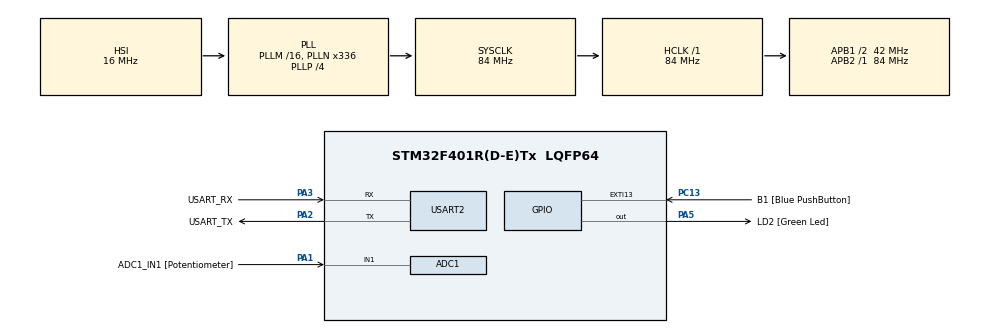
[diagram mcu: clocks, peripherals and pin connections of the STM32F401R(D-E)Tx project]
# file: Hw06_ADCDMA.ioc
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ADC1.Channel-0\#ChannelRegularConversion=ADC_CHANNEL_1
ADC1.Channel-3\#ChannelRegularConversion=ADC_CHANNEL_TEMPSENSOR
ADC1.Channel-4\#ChannelRegularConversion=ADC_CHANNEL_VREFINT
ADC1.DMAContinuousRequests=ENABLE
ADC1.ExternalTrigConv=ADC_EXTERNALTRIGCONV_T2_TRGO
ADC1.NbrOfConversion=3
ADC1.NbrOfConversionFlag=1
ADC1.Rank-3\#ChannelRegularConversion=2
ADC1.Rank-4\#ChannelRegularConversion=3
ADC1.SamplingTime-0\#ChannelRegularConversion=ADC_SAMPLETIME_480CYCLES
ADC1.SamplingTime-3\#ChannelRegularConversion=ADC_SAMPLETIME_480CYCLES
ADC1.SamplingTime-4\#ChannelRegularConversion=ADC_SAMPLETIME_480CYCLES
ADC1.ScanConvMode=ENABLE
ADC1.master=1
Dma.ADC1.1.Direction=DMA_PERIPH_TO_MEMORY
Dma.ADC1.1.FIFOMode=DMA_FIFOMODE_DISABLE
Dma.ADC1.1.Instance=DMA2_Stream0
Dma.ADC1.1.MemDataAlignment=DMA_MDATAALIGN_HALFWORD
Dma.ADC1.1.MemInc=DMA_MINC_ENABLE
Dma.ADC1.1.Mode=DMA_CIRCULAR
Dma.ADC1.1.PeriphDataAlignment=DMA_PDATAALIGN_HALFWORD
Dma.ADC1.1.PeriphInc=DMA_PINC_DISABLE
Dma.ADC1.1.Priority=DMA_PRIORITY_LOW
Dma.Request0=USART2_TX
Dma.Request1=ADC1
Dma.USART2_TX.0.Direction=DMA_MEMORY_TO_PERIPH
Dma.USART2_TX.0.FIFOMode=DMA_FIFOMODE_DISABLE
Dma.USART2_TX.0.Instance=DMA1_Stream6
Dma.USART2_TX.0.MemDataAlignment=DMA_MDATAALIGN_BYTE
Dma.USART2_TX.0.MemInc=DMA_MINC_ENABLE
Dma.USART2_TX.0.Mode=DMA_NORMAL
Dma.USART2_TX.0.PeriphDataAlignment=DMA_PDATAALIGN_BYTE
Dma.USART2_TX.0.PeriphInc=DMA_PINC_DISABLE
Dma.USART2_TX.0.Priority=DMA_PRIORITY_LOW
Mcu.Family=STM32F4
Mcu.Name=STM32F401R(D-E)Tx
Mcu.Package=LQFP64
NVIC.DMA1_Stream6_IRQn=true\:0\:0\:true\:false\:true\:false\:true\:true
NVIC.DMA2_Stream0_IRQn=true\:0\:0\:true\:false\:true\:false\:true\:true
NVIC.PriorityGroup=NVIC_PRIORITYGROUP_4
NVIC.USART2_IRQn=true\:0\:0\:false\:false\:true\:true\:true\:true
PA1.GPIO_Label=ADC1_IN1 [Potentiometer]
PA1.GPIO_Mode=GPIO_MODE_ANALOG
PA1.GPIO_PuPd=GPIO_NOPULL
PA1.Signal=ADCx_IN1
PA13.GPIO_Label=TMS
PA13.Mode=Trace_Asynchronous_SW
PA13.Signal=SYS_JTMS-SWDIO
PA14.GPIO_Label=TCK
PA14.Mode=Trace_Asynchronous_SW
PA14.Signal=SYS_JTCK-SWCLK
PA2.GPIO_Label=USART_TX
PA2.GPIO_Mode=GPIO_MODE_AF_PP
PA2.GPIO_PuPd=GPIO_NOPULL
PA2.GPIO_Speed=GPIO_SPEED_FREQ_LOW
PA2.Mode=Asynchronous
PA2.Signal=USART2_TX
PA3.GPIO_Label=USART_RX
PA3.GPIO_Mode=GPIO_MODE_AF_PP
PA3.GPIO_PuPd=GPIO_NOPULL
PA3.GPIO_Speed=GPIO_SPEED_FREQ_LOW
PA3.Mode=Asynchronous
PA3.Signal=USART2_RX
PA5.GPIO_Label=LD2 [Green Led]
PA5.GPIO_Mode=GPIO_MODE_OUTPUT_PP
PA5.GPIO_PuPd=GPIO_NOPULL
PA5.GPIO_Speed=GPIO_SPEED_FREQ_LOW
PA5.Signal=GPIO_Output
PB3.GPIO_Label=SWO
PB3.Mode=Trace_Asynchronous_SW
PB3.Signal=SYS_JTDO-SWO
PC13-ANTI_TAMP.GPIO_Label=B1 [Blue PushButton]
PC13-ANTI_TAMP.GPIO_ModeDefaultEXTI=GPIO_MODE_IT_FALLING
PC13-ANTI_TAMP.GPIO_PuPd=GPIO_NOPULL
PC13-ANTI_TAMP.Signal=GPXTI13
PC14-OSC32_IN.Mode=LSE-External-Oscillator
PC14-OSC32_IN.Signal=RCC_OSC32_IN
PC15-OSC32_OUT.Mode=LSE-External-Oscillator
PC15-OSC32_OUT.Signal=RCC_OSC32_OUT
PH0\ -\ OSC_IN.Mode=HSE-External-Clock-Source
PH0\ -\ OSC_IN.Signal=RCC_OSC_IN
PH1\ -\ OSC_OUT.Mode=HSE-External-Clock-Source
PH1\ -\ OSC_OUT.Signal=RCC_OSC_OUT
ProjectManager.HeapSize=0x200
ProjectManager.StackSize=0x400
ProjectManager.TargetToolchain=STM32CubeIDE
RCC.48MHZClocksFreq_Value=48000000
RCC.AHBFreq_Value=84000000
RCC.APB1CLKDivider=RCC_HCLK_DIV2
RCC.APB1Freq_Value=42000000
RCC.APB1TimFreq_Value=84000000
RCC.APB2Freq_Value=84000000
RCC.APB2TimFreq_Value=84000000
RCC.CortexFreq_Value=84000000
RCC.HCLKFreq_Value=84000000
RCC.HSE_VALUE=8000000
RCC.HSI_VALUE=16000000
RCC.PLLN=336
RCC.PLLP=RCC_PLLP_DIV4
RCC.PLLQ=7
RCC.SYSCLKFreq_VALUE=84000000
RCC.SYSCLKSource=RCC_SYSCLKSOURCE_PLLCLK
RCC.VCOOutputFreq_Value=336000000
SH.ADCx_IN1.0=ADC1_IN1,IN1
TIM2.Period=9999
TIM2.Prescaler=8399
TIM2.TIM_MasterOutputTrigger=TIM_TRGO_UPDATE
USART2.VirtualMode=VM_ASYNC
VP_ADC1_TempSens_Input.Mode=IN-TempSens
VP_ADC1_Vref_Input.Mode=IN-Vrefint
VP_TIM2_VS_ClockSourceINT.Mode=Internal
board=NUCLEO-F401RE

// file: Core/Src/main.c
/* USER CODE BEGIN Header */
/**
  ******************************************************************************
  * @file           : main.c
  * @brief          : Main program body
  ******************************************************************************
  * @attention
  *
  * Copyright (c) 2025 STMicroelectronics.
  * All rights reserved.
  *
  * This software is licensed under terms that can be found in the LICENSE file
  * in the root directory of this software component.
  * If no LICENSE file comes with this software, it is provided AS-IS.
  *
  ******************************************************************************
  */
/* USER CODE END Header */
#include "main.h"

/* USER CODE BEGIN Includes */
#include "stdio.h"
/* USER CODE END Includes */

ADC_HandleTypeDef hadc1;
DMA_HandleTypeDef hdma_adc1;

TIM_HandleTypeDef htim2;

UART_HandleTypeDef huart2;
DMA_HandleTypeDef hdma_usart2_tx;

/* USER CODE BEGIN PV */
uint16_t adc_dma_buffer[3];
char string[80];
/* USER CODE END PV */

void SystemClock_Config(void);
static void MX_GPIO_Init(void);
static void MX_DMA_Init(void);
static void MX_USART2_UART_Init(void);
static void MX_ADC1_Init(void);
static void MX_TIM2_Init(void);

/* USER CODE BEGIN 0 */
void HAL_ADC_ConvCpltCallback(ADC_HandleTypeDef* hadc) {
	float potentiometer = adc_dma_buffer[0]*3.3/4095;
	float vsense = adc_dma_buffer[1]*3.3/4095;
	float temperature = (vsense - 0.76) / 0.0025 + 25;
	float vref = adc_dma_buffer[2]*3.3/4095;

	int length = snprintf(
			string, sizeof(string),
			"Potentiometer: %.3f V | Temperature: %.2f °C | Vref: %.3f V\n\n",
			potentiometer, temperature, vref);
	HAL_UART_Transmit_DMA(&huart2, (uint8_t *)string, length);
}
/* USER CODE END 0 */

int main(void)
{

  /* MCU Configuration--------------------------------------------------------*/

  /* Reset of all peripherals, Initializes the Flash interface and the Systick. */
  HAL_Init();

  /* Configure the system clock */
  SystemClock_Config();

  /* Initialize all configured peripherals */
  MX_GPIO_Init();
  MX_DMA_Init();
  MX_USART2_UART_Init();
  MX_ADC1_Init();
  MX_TIM2_Init();
  /* USER CODE BEGIN 2 */
  HAL_ADC_Start_DMA(&hadc1, adc_dma_buffer, 3);
  HAL_TIM_Base_Start(&htim2);
  /* USER CODE END 2 */

  /* Infinite loop */
  while (1)
  {

  }
}

void SystemClock_Config(void)
{
  RCC_OscInitTypeDef RCC_OscInitStruct = {0};
  RCC_ClkInitTypeDef RCC_ClkInitStruct = {0};

  /** Configure the main internal regulator output voltage
  */
  __HAL_RCC_PWR_CLK_ENABLE();
  __HAL_PWR_VOLTAGESCALING_CONFIG(PWR_REGULATOR_VOLTAGE_SCALE2);

  /** Initializes the RCC Oscillators according to the specified parameters
  * in the RCC_OscInitTypeDef structure.
  */
  RCC_OscInitStruct.OscillatorType = RCC_OSCILLATORTYPE_HSI;
  RCC_OscInitStruct.HSIState = RCC_HSI_ON;
  RCC_OscInitStruct.HSICalibrationValue = RCC_HSICALIBRATION_DEFAULT;
  RCC_OscInitStruct.PLL.PLLState = RCC_PLL_ON;
  RCC_OscInitStruct.PLL.PLLSource = RCC_PLLSOURCE_HSI;
  RCC_OscInitStruct.PLL.PLLM = 16;
  RCC_OscInitStruct.PLL.PLLN = 336;
  RCC_OscInitStruct.PLL.PLLP = RCC_PLLP_DIV4;
  RCC_OscInitStruct.PLL.PLLQ = 7;
  if (HAL_RCC_OscConfig(&RCC_OscInitStruct) != HAL_OK)
  {
    Error_Handler();
  }

  /** Initializes the CPU, AHB and APB buses clocks
  */
  RCC_ClkInitStruct.ClockType = RCC_CLOCKTYPE_HCLK|RCC_CLOCKTYPE_SYSCLK
                              |RCC_CLOCKTYPE_PCLK1|RCC_CLOCKTYPE_PCLK2;
  RCC_ClkInitStruct.SYSCLKSource = RCC_SYSCLKSOURCE_PLLCLK;
  RCC_ClkInitStruct.AHBCLKDivider = RCC_SYSCLK_DIV1;
  RCC_ClkInitStruct.APB1CLKDivider = RCC_HCLK_DIV2;
  RCC_ClkInitStruct.APB2CLKDivider = RCC_HCLK_DIV1;

  if (HAL_RCC_ClockConfig(&RCC_ClkInitStruct, FLASH_LATENCY_2) != HAL_OK)
  {
    Error_Handler();
  }
}

static void MX_ADC1_Init(void)
{

  ADC_ChannelConfTypeDef sConfig = {0};

  /** Configure the global features of the ADC (Clock, Resolution, Data Alignment and number of conversion)
  */
  hadc1.Instance = ADC1;
  hadc1.Init.ClockPrescaler = ADC_CLOCK_SYNC_PCLK_DIV4;
  hadc1.Init.Resolution = ADC_RESOLUTION_12B;
  hadc1.Init.ScanConvMode = ENABLE;
  hadc1.Init.ContinuousConvMode = DISABLE;
  hadc1.Init.DiscontinuousConvMode = DISABLE;
  hadc1.Init.ExternalTrigConvEdge = ADC_EXTERNALTRIGCONVEDGE_RISING;
  hadc1.Init.ExternalTrigConv = ADC_EXTERNALTRIGCONV_T2_TRGO;
  hadc1.Init.DataAlign = ADC_DATAALIGN_RIGHT;
  hadc1.Init.NbrOfConversion = 3;
  hadc1.Init.DMAContinuousRequests = ENABLE;
  hadc1.Init.EOCSelection = ADC_EOC_SINGLE_CONV;
  if (HAL_ADC_Init(&hadc1) != HAL_OK)
  {
    Error_Handler();
  }

  /** Configure for the selected ADC regular channel its corresponding rank in the sequencer and its sample time.
  */
  sConfig.Channel = ADC_CHANNEL_1;
  sConfig.Rank = 1;
  sConfig.SamplingTime = ADC_SAMPLETIME_480CYCLES;
  if (HAL_ADC_ConfigChannel(&hadc1, &sConfig) != HAL_OK)
  {
    Error_Handler();
  }

  /** Configure for the selected ADC regular channel its corresponding rank in the sequencer and its sample time.
  */
  sConfig.Channel = ADC_CHANNEL_TEMPSENSOR;
  sConfig.Rank = 2;
  if (HAL_ADC_ConfigChannel(&hadc1, &sConfig) != HAL_OK)
  {
    Error_Handler();
  }

  /** Configure for the selected ADC regular channel its corresponding rank in the sequencer and its sample time.
  */
  sConfig.Channel = ADC_CHANNEL_VREFINT;
  sConfig.Rank = 3;
  if (HAL_ADC_ConfigChannel(&hadc1, &sConfig) != HAL_OK)
  {
    Error_Handler();
  }

}

static void MX_TIM2_Init(void)
{

  TIM_ClockConfigTypeDef sClockSourceConfig = {0};
  TIM_MasterConfigTypeDef sMasterConfig = {0};

  htim2.Instance = TIM2;
  htim2.Init.Prescaler = 8399;
  htim2.Init.CounterMode = TIM_COUNTERMODE_UP;
  htim2.Init.Period = 9999;
  htim2.Init.ClockDivision = TIM_CLOCKDIVISION_DIV1;
  htim2.Init.AutoReloadPreload = TIM_AUTORELOAD_PRELOAD_DISABLE;
  if (HAL_TIM_Base_Init(&htim2) != HAL_OK)
  {
    Error_Handler();
  }
  sClockSourceConfig.ClockSource = TIM_CLOCKSOURCE_INTERNAL;
  if (HAL_TIM_ConfigClockSource(&htim2, &sClockSourceConfig) != HAL_OK)
  {
    Error_Handler();
  }
  sMasterConfig.MasterOutputTrigger = TIM_TRGO_UPDATE;
  sMasterConfig.MasterSlaveMode = TIM_MASTERSLAVEMODE_DISABLE;
  if (HAL_TIMEx_MasterConfigSynchronization(&htim2, &sMasterConfig) != HAL_OK)
  {
    Error_Handler();
  }

}

static void MX_USART2_UART_Init(void)
{

  huart2.Instance = USART2;
  huart2.Init.BaudRate = 115200;
  huart2.Init.WordLength = UART_WORDLENGTH_8B;
  huart2.Init.StopBits = UART_STOPBITS_1;
  huart2.Init.Parity = UART_PARITY_NONE;
  huart2.Init.Mode = UART_MODE_TX_RX;
  huart2.Init.HwFlowCtl = UART_HWCONTROL_NONE;
  huart2.Init.OverSampling = UART_OVERSAMPLING_16;
  if (HAL_UART_Init(&huart2) != HAL_OK)
  {
    Error_Handler();
  }

}

static void MX_DMA_Init(void)
{

  /* DMA controller clock enable */
  __HAL_RCC_DMA1_CLK_ENABLE();
  __HAL_RCC_DMA2_CLK_ENABLE();

  /* DMA interrupt init */
  /* DMA1_Stream6_IRQn interrupt configuration */
  HAL_NVIC_SetPriority(DMA1_Stream6_IRQn, 0, 0);
  HAL_NVIC_EnableIRQ(DMA1_Stream6_IRQn);
  /* DMA2_Stream0_IRQn interrupt configuration */
  HAL_NVIC_SetPriority(DMA2_Stream0_IRQn, 0, 0);
  HAL_NVIC_EnableIRQ(DMA2_Stream0_IRQn);

}

static void MX_GPIO_Init(void)
{
  GPIO_InitTypeDef GPIO_InitStruct = {0};

  /* GPIO Ports Clock Enable */
  __HAL_RCC_GPIOC_CLK_ENABLE();
  __HAL_RCC_GPIOH_CLK_ENABLE();
  __HAL_RCC_GPIOA_CLK_ENABLE();
  __HAL_RCC_GPIOB_CLK_ENABLE();

  /*Configure GPIO pin Output Level */
  HAL_GPIO_WritePin(LD2_GPIO_Port, LD2_Pin, GPIO_PIN_RESET);

  /*Configure GPIO pin : B1_Pin */
  GPIO_InitStruct.Pin = B1_Pin;
  GPIO_InitStruct.Mode = GPIO_MODE_IT_FALLING;
  GPIO_InitStruct.Pull = GPIO_NOPULL;
  HAL_GPIO_Init(B1_GPIO_Port, &GPIO_InitStruct);

  /*Configure GPIO pin : LD2_Pin */
  GPIO_InitStruct.Pin = LD2_Pin;
  GPIO_InitStruct.Mode = GPIO_MODE_OUTPUT_PP;
  GPIO_InitStruct.Pull = GPIO_NOPULL;
  GPIO_InitStruct.Speed = GPIO_SPEED_FREQ_LOW;
  HAL_GPIO_Init(LD2_GPIO_Port, &GPIO_InitStruct);

}

void Error_Handler(void)
{
  __disable_irq();
  while (1)
  {
  }
}
